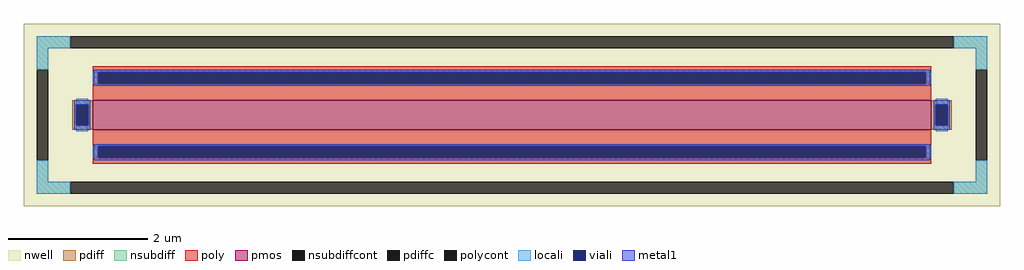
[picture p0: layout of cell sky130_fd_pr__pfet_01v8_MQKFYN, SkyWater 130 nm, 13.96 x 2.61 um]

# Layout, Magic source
magic
tech sky130A
magscale 1 2
<< nwell >>
rect -1396 -261 1396 261
<< pmos >>
rect -1200 -42 1200 42
<< pdiff >>
rect -1258 30 -1200 42
rect -1258 -30 -1246 30
rect -1212 -30 -1200 30
rect -1258 -42 -1200 -30
rect 1200 30 1258 42
rect 1200 -30 1212 30
rect 1246 -30 1258 30
rect 1200 -42 1258 -30
<< pdiffc >>
rect -1246 -30 -1212 30
rect 1212 -30 1246 30
<< nsubdiff >>
rect -1360 191 -1264 225
rect 1264 191 1360 225
rect -1360 129 -1326 191
rect 1326 129 1360 191
rect -1360 -191 -1326 -129
rect 1326 -191 1360 -129
rect -1360 -225 -1264 -191
rect 1264 -225 1360 -191
<< nsubdiffcont >>
rect -1264 191 1264 225
rect -1360 -129 -1326 129
rect 1326 -129 1360 129
rect -1264 -225 1264 -191
<< poly >>
rect -1200 123 1200 139
rect -1200 89 -1184 123
rect 1184 89 1200 123
rect -1200 42 1200 89
rect -1200 -89 1200 -42
rect -1200 -123 -1184 -89
rect 1184 -123 1200 -89
rect -1200 -139 1200 -123
<< polycont >>
rect -1184 89 1184 123
rect -1184 -123 1184 -89
<< locali >>
rect -1360 191 -1264 225
rect 1264 191 1360 225
rect -1360 129 -1326 191
rect 1326 129 1360 191
rect -1200 89 -1184 123
rect 1184 89 1200 123
rect -1246 30 -1212 46
rect -1246 -46 -1212 -30
rect 1212 30 1246 46
rect 1212 -46 1246 -30
rect -1200 -123 -1184 -89
rect 1184 -123 1200 -89
rect -1360 -191 -1326 -129
rect 1326 -191 1360 -129
rect -1360 -225 -1264 -191
rect 1264 -225 1360 -191
<< viali >>
rect -1184 89 1184 123
rect -1246 -30 -1212 30
rect 1212 -30 1246 30
rect -1184 -123 1184 -89
<< metal1 >>
rect -1196 123 1196 129
rect -1196 89 -1184 123
rect 1184 89 1196 123
rect -1196 83 1196 89
rect -1252 30 -1206 42
rect -1252 -30 -1246 30
rect -1212 -30 -1206 30
rect -1252 -42 -1206 -30
rect 1206 30 1252 42
rect 1206 -30 1212 30
rect 1246 -30 1252 30
rect 1206 -42 1252 -30
rect -1196 -89 1196 -83
rect -1196 -123 -1184 -89
rect 1184 -123 1196 -89
rect -1196 -129 1196 -123
<< properties >>
string FIXED_BBOX -1343 -208 1343 208
string gencell sky130_fd_pr__pfet_01v8
string library sky130
string parameters w 0.42 l 12.0 m 1 nf 1 diffcov 100 polycov 100 guard 1 glc 1 grc 1 gtc 1 gbc 1 tbcov 100 rlcov 100 topc 1 botc 1 poverlap 0 doverlap 1 lmin 0.15 wmin 0.42 compatible {sky130_fd_pr__pfet_01v8  sky130_fd_pr__pfet_01v8_lvt sky130_fd_pr__pfet_01v8_hvt  sky130_fd_pr__pfet_g5v0d10v5} full_metal 1 viasrc 100 viadrn 100 viagate 100 viagb 0 viagr 0 viagl 0 viagt 0
<< end >>
